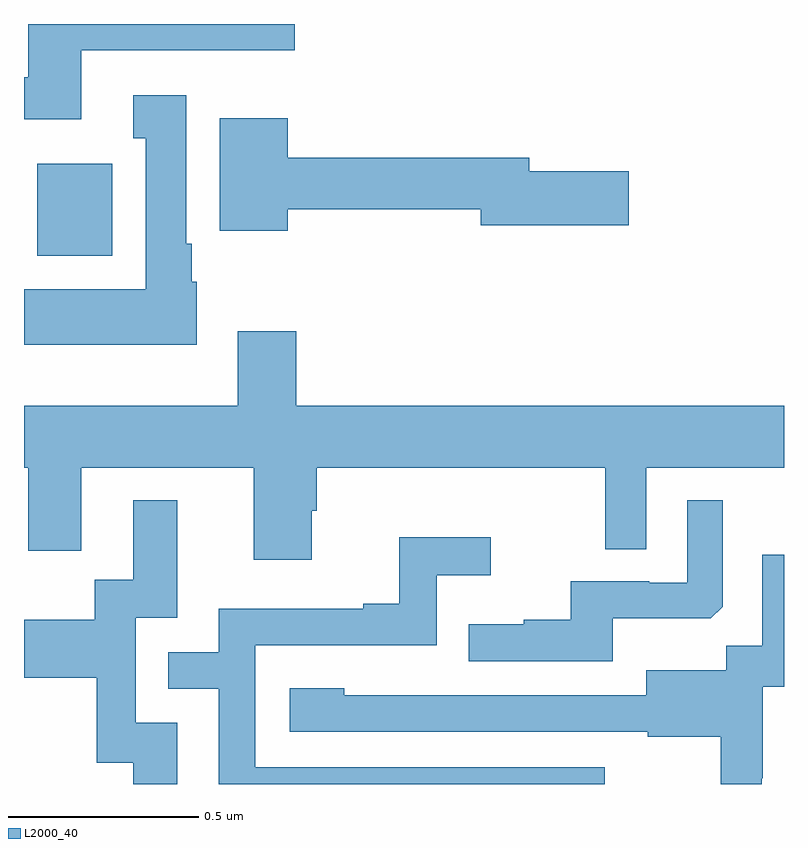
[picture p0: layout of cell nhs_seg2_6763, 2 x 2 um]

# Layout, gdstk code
import gdstk
lib = gdstk.Library(unit=1e-6, precision=1e-09)
def R(c, l, rs):  # rectangles x0, y0, x1, y1
    for r in rs: c.add(gdstk.rectangle(r[:2], r[2:], *l))
def P(c, l, *ps):  # polygons
    for p in ps: c.add(gdstk.Polygon(p, *l))
L2000_40 = (2000, 40)

nhs_seg2_6763 = lib.new_cell('nhs_seg2_6763')
R(nhs_seg2_6763, L2000_40, [(195.035,652.19,195.232,652.432)])
P(nhs_seg2_6763, L2000_40, [(195.151,652.731),(195.712,652.731),(195.712,652.8),(195.011,652.8),(195.011,652.66),(195,652.66),(195,652.55),(195.151,652.55)],
  [(195.454,652.122),(195.442,652.122),(195.442,652.222),(195.427,652.222),(195.427,652.612),(195.287,652.612),(195.287,652.499),(195.32,652.499),(195.32,652.102),(195,652.102),(195,651.956),(195.454,651.956)],
  [(195.694,652.312),(196.202,652.312),(196.202,652.27),(196.591,652.27),(196.591,652.412),(196.33,652.412),(196.33,652.448),(195.694,652.448),(195.694,652.552),(195.515,652.552),(195.515,652.256),(195.694,652.256)],
  [(195.757,651.519),(195.77,651.519),(195.77,651.632),(196.53,651.632),(196.53,651.418),(196.638,651.418),(196.638,651.632),(197,651.632),(197,651.796),(195.716,651.796),(195.716,651.991),(195.563,651.991),(195.563,651.796),(195,651.796),(195,651.632),(195.011,651.632),(195.011,651.414),(195.151,651.414),(195.151,651.632),(195.605,651.632),(195.605,651.39),(195.757,651.39)],
  [(195.403,650.961),(195.294,650.961),(195.294,651.237),(195.403,651.237),(195.403,651.547),(195.287,651.547),(195.287,651.338),(195.186,651.338),(195.186,651.232),(195,651.232),(195,651.08),(195.191,651.08),(195.191,650.856),(195.287,650.856),(195.287,650.8),(195.403,650.8)],
  [(196.549,651.236),(196.807,651.236),(196.839,651.267),(196.839,651.547),(196.746,651.547),(196.746,651.33),(196.646,651.33),(196.646,651.333),(196.439,651.333),(196.439,651.232),(196.315,651.232),(196.315,651.22),(196.171,651.22),(196.171,651.123),(196.549,651.123)],
  [(196.528,650.844),(195.609,650.844),(195.609,651.165),(196.086,651.165),(196.086,651.35),(196.228,651.35),(196.228,651.449),(195.988,651.449),(195.988,651.274),(195.893,651.274),(195.893,651.261),(195.513,651.261),(195.513,651.147),(195.379,651.147),(195.379,651.051),(195.513,651.051),(195.513,650.8),(196.528,650.8)],
  [(196.942,650.815),(196.944,650.815),(196.944,651.056),(197,651.056),(197,651.403),(196.943,651.403),(196.943,651.164),(196.848,651.164),(196.848,651.1),(196.637,651.1),(196.637,651.033),(196.079,651.033),(196.079,651.034),(195.843,651.034),(195.843,651.052),(195.699,651.052),(195.699,650.937),(196.641,650.937),(196.641,650.925),(196.833,650.925),(196.833,650.8),(196.942,650.8)])

lib.write_gds('nhs_seg2_6763.gds')
